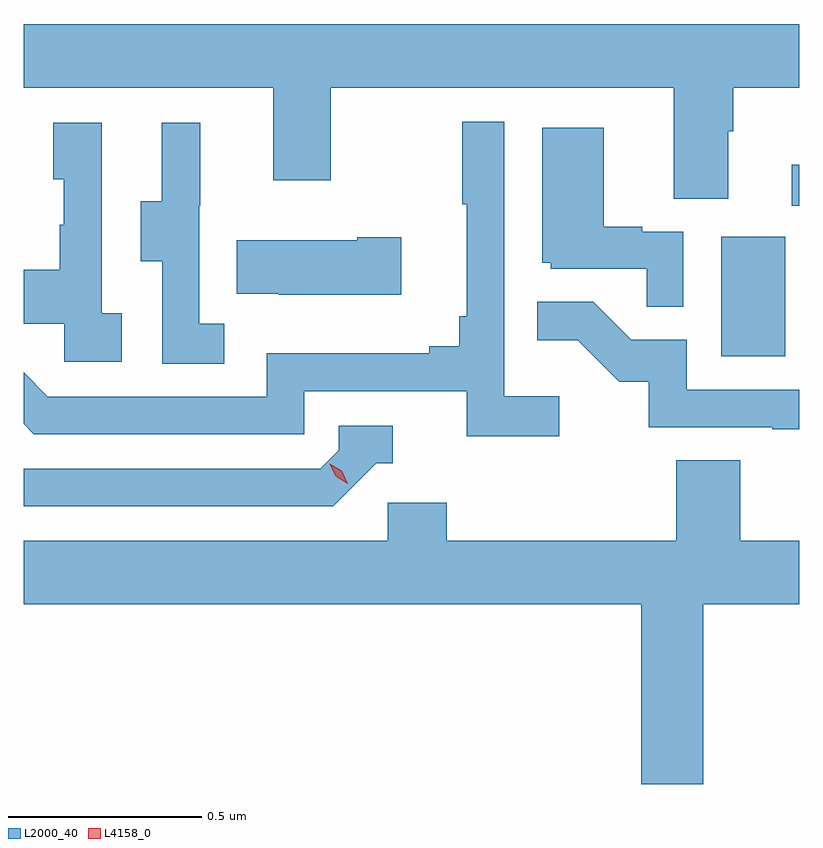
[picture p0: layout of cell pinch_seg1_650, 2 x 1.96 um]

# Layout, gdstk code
import gdstk
lib = gdstk.Library(unit=1e-6, precision=1e-09)
def R(c, l, rs):  # rectangles x0, y0, x1, y1
    for r in rs: c.add(gdstk.rectangle(r[:2], r[2:], *l))
def P(c, l, *ps):  # polygons
    for p in ps: c.add(gdstk.Polygon(p, *l))
L2000_40 = (2000, 40)
L4158_0 = (4158, 0)

pinch_seg1_650 = lib.new_cell('pinch_seg1_650')
R(pinch_seg1_650, L2000_40, [(1085.996,520.404,1086.16,520.711), (1086.177,520.791,1086.197,520.897)])
P(pinch_seg1_650, L2000_40, [(1086.013,520.984),(1086.026,520.984),(1086.026,521.096),(1086.197,521.096),(1086.197,521.26),(1084.197,521.26),(1084.197,521.096),(1084.841,521.096),(1084.841,520.857),(1084.989,520.857),(1084.989,521.096),(1085.873,521.096),(1085.873,520.81),(1086.013,520.81)],
  [(1085.578,520.3),(1085.436,520.3),(1085.436,521.008),(1085.328,521.008),(1085.328,520.795),(1085.339,520.795),(1085.339,520.507),(1085.32,520.507),(1085.32,520.43),(1085.243,520.43),(1085.243,520.411),(1084.824,520.411),(1084.824,520.299),(1084.26,520.299),(1084.197,520.362),(1084.197,520.229),(1084.223,520.203),(1084.92,520.203),(1084.92,520.314),(1085.339,520.314),(1085.339,520.198),(1085.578,520.198)],
  [(1084.45,520.514),(1084.398,520.514),(1084.398,521.005),(1084.274,521.005),(1084.274,520.86),(1084.3,520.86),(1084.3,520.742),(1084.29,520.742),(1084.29,520.627),(1084.197,520.627),(1084.197,520.487),(1084.302,520.487),(1084.302,520.389),(1084.45,520.389)],
  [(1084.714,520.487),(1084.65,520.487),(1084.65,520.791),(1084.652,520.791),(1084.652,521.005),(1084.553,521.005),(1084.553,520.803),(1084.499,520.803),(1084.499,520.648),(1084.554,520.648),(1084.554,520.384),(1084.714,520.384)],
  [(1085.898,520.725),(1085.792,520.725),(1085.792,520.738),(1085.692,520.738),(1085.692,520.993),(1085.534,520.993),(1085.534,520.644),(1085.556,520.644),(1085.556,520.629),(1085.803,520.629),(1085.803,520.531),(1085.898,520.531)],
  [(1085.17,520.71),(1085.057,520.71),(1085.057,520.702),(1084.747,520.702),(1084.747,520.565),(1084.855,520.565),(1084.855,520.562),(1085.17,520.562)],
  [(1086.197,520.317),(1085.907,520.317),(1085.907,520.446),(1085.763,520.446),(1085.665,520.544),(1085.521,520.544),(1085.521,520.445),(1085.625,520.445),(1085.732,520.338),(1085.809,520.338),(1085.809,520.221),(1086.127,520.221),(1086.127,520.216),(1086.197,520.216)],
  [(1085.106,520.128),(1085.149,520.128),(1085.149,520.224),(1085.01,520.224),(1085.01,520.161),(1084.962,520.113),(1084.197,520.113),(1084.197,520.017),(1084.995,520.017)],
  [(1085.949,519.764),(1086.197,519.764),(1086.197,519.928),(1086.044,519.928),(1086.044,520.136),(1085.879,520.136),(1085.879,519.928),(1085.288,519.928),(1085.288,520.026),(1085.136,520.026),(1085.136,519.928),(1084.197,519.928),(1084.197,519.764),(1085.789,519.764),(1085.789,519.301),(1085.949,519.301)])
P(pinch_seg1_650, L4158_0, [(1085.033,520.075),(1085.002,520.094),(1084.986,520.127),(1084.986,520.127),(1084.986,520.127),(1085.017,520.108),(1085.033,520.075),(1085.033,520.075)])

lib.write_gds('pinch_seg1_650.gds')
